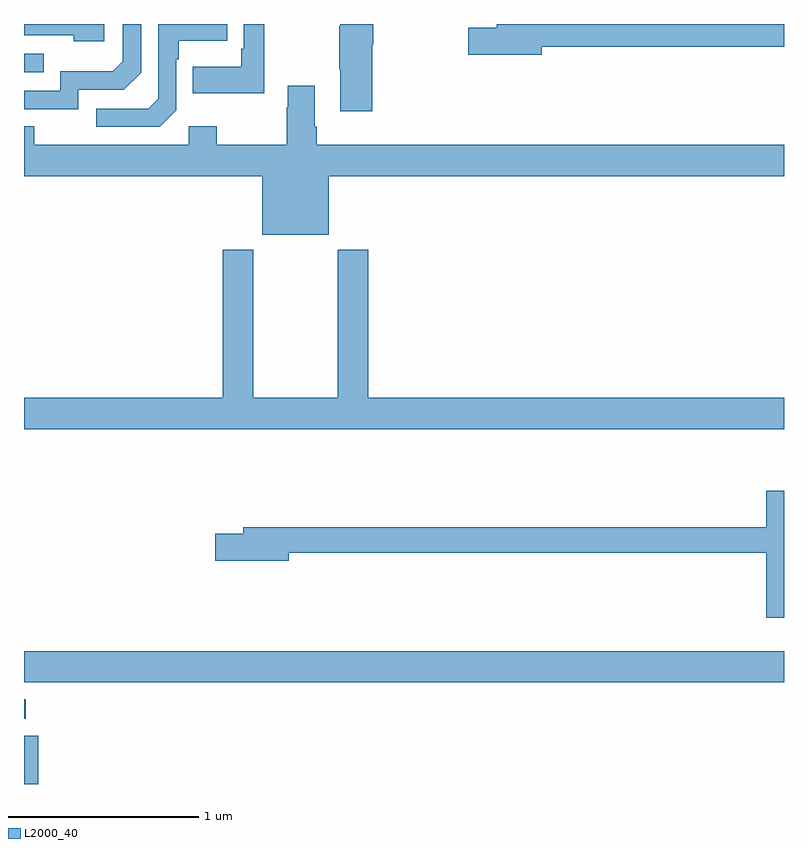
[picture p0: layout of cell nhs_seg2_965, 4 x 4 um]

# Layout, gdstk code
import gdstk
lib = gdstk.Library(unit=1e-6, precision=1e-09)
def R(c, l, rs):  # rectangles x0, y0, x1, y1
    for r in rs: c.add(gdstk.rectangle(r[:2], r[2:], *l))
def P(c, l, *ps):  # polygons
    for p in ps: c.add(gdstk.Polygon(p, *l))
L2000_40 = (2000, 40)

nhs_seg2_965 = lib.new_cell('nhs_seg2_965')
R(nhs_seg2_965, L2000_40, [(161,613.8,161.075,614.055), (161,614.144,161.008,614.245), (161,614.336,165,614.5), (161,617.547,161.105,617.643)])
P(nhs_seg2_965, L2000_40, [(163.726,617.68),(165,617.68),(165,617.8),(163.487,617.8),(163.487,617.78),(163.338,617.78),(163.338,617.638),(163.726,617.638)],
  [(162.265,617.8),(162.156,617.8),(162.156,617.671),(162.144,617.671),(162.144,617.575),(161.887,617.575),(161.887,617.435),(162.265,617.435)],
  [(161.802,617.346),(161.802,617.615),(161.815,617.615),(161.815,617.711),(162.071,617.711),(162.071,617.8),(161.706,617.8),(161.706,617.406),(161.655,617.355),(161.379,617.355),(161.379,617.259),(161.715,617.259)],
  [(162.833,617.691),(162.838,617.691),(162.838,617.8),(162.665,617.8),(162.665,617.791),(162.658,617.791),(162.658,617.563),(162.665,617.563),(162.665,617.34),(162.833,617.34)],
  [(161.286,617.454),(161.526,617.454),(161.616,617.544),(161.616,617.8),(161.52,617.8),(161.52,617.604),(161.467,617.551),(161.19,617.551),(161.19,617.448),(161,617.448),(161,617.352),(161.286,617.352)],
  [(161.422,617.8),(161,617.8),(161,617.742),(161.261,617.742),(161.261,617.708),(161.422,617.708)],
  [(162.542,617.26),(162.529,617.26),(162.529,617.476),(162.389,617.476),(162.389,617.363),(162.382,617.363),(162.382,617.164),(162.015,617.164),(162.015,617.263),(161.868,617.263),(161.868,617.164),(161.055,617.164),(161.055,617.263),(161,617.263),(161,617),(162.254,617),(162.254,616.691),(162.604,616.691),(162.604,617),(165,617),(165,617.164),(162.542,617.164)],
  [(165,615.832),(162.812,615.832),(162.812,616.612),(162.652,616.612),(162.652,615.832),(162.207,615.832),(162.207,616.612),(162.047,616.612),(162.047,615.832),(161,615.832),(161,615.668),(165,615.668)],
  [(165,615.343),(164.906,615.343),(164.906,615.152),(162.155,615.152),(162.155,615.116),(162.006,615.116),(162.006,614.974),(162.394,614.974),(162.394,615.016),(164.906,615.016),(164.906,614.676),(165,614.676)])

lib.write_gds('nhs_seg2_965.gds')
